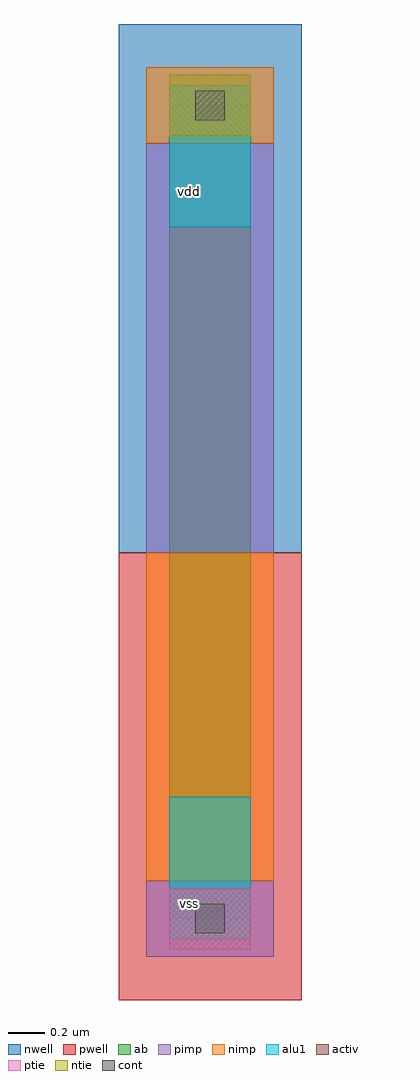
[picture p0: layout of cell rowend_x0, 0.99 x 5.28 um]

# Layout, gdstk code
import gdstk
lib = gdstk.Library(unit=1e-6, precision=2.5e-09)
def R(c, l, rs):  # rectangles x0, y0, x1, y1
    for r in rs: c.add(gdstk.rectangle(r[:2], r[2:], *l))
ntie = (5, 0)
ptie = (6, 0)
cont = (25, 0)
pwell = (41, 0)
nwell = (42, 0)
activ = (43, 0)
pimp = (44, 0)
nimp = (45, 0)
alu1 = (49, 0)
ab = (63, 0)

rowend_x0 = lib.new_cell('rowend_x0')
R(rowend_x0, ntie, [(0,4.235,0.44,4.565)])
R(rowend_x0, ptie, [(0,-0.165,0.44,0.165)])
R(rowend_x0, cont, [(0.14,-0.08,0.3,0.08), (0.14,4.32,0.3,4.48)])
R(rowend_x0, pwell, [(-0.275,-0.44,0.715,1.98)])
R(rowend_x0, nwell, [(-0.275,1.98,0.715,4.84)])
R(rowend_x0, activ, [(0,-0.165,0.44,0.165), (0,4.235,0.44,4.565)])
R(rowend_x0, pimp, [(-0.125,-0.205,0.565,0.205), (-0.125,1.98,0.565,4.195)])
R(rowend_x0, nimp, [(-0.125,0.205,0.565,1.98), (-0.125,4.195,0.565,4.605)])
R(rowend_x0, alu1, [(0,-0.11,0.44,0.66), (0,3.74,0.44,4.51)])
R(rowend_x0, ab, [(0,0,0.44,4.4)])
rowend_x0.add(gdstk.Label('vss', (0.11,0.0825), layer=49, texttype=0))
rowend_x0.add(gdstk.Label('vdd', (0.11,3.9325), layer=49, texttype=0))

lib.write_gds('rowend_x0.gds')
